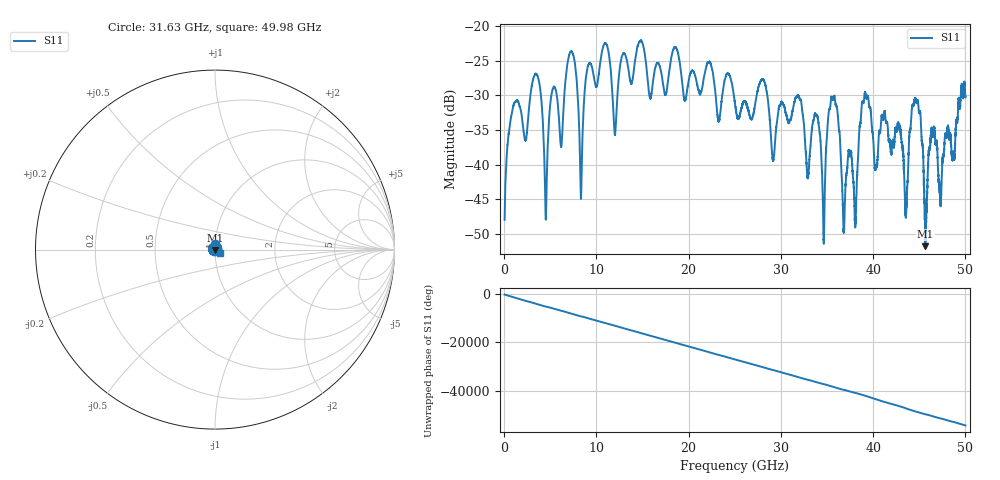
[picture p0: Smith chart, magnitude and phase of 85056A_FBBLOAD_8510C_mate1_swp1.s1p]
!Created with skrf (http://scikit-rf.org).
# Hz S RI R 50.0
!freq ReS11 ImS11
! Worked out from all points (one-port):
!   10001 points, 45 MHz to 50 GHz, reference 50 ohm
!   lowest |S11| = -51.8 dB at 45.66 GHz (marker M1), VSWR 1.01, Z = 49.9 - j0.234 ohm
!   |S11| at or under -10 dB: start of sweep to end of sweep
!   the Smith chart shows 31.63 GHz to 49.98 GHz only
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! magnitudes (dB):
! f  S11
! 45 MHz  -48.0
! 924.2 MHz  -31.9
! 3.337 GHz  -27.0
! 4.496 GHz  -47.6
! 5.275 GHz  -29.1
! 6.289 GHz  -35.6
! 7.204 GHz  -23.7
! 8.323 GHz  -44.9
! 9.162 GHz  -25.5
! 12.01 GHz  -35.7
! 12.53 GHz  -26.0
! 18.78 GHz  -23.6
! 25.02 GHz  -31.2
! 31.27 GHz  -32.2
! 32.92 GHz  -41.9
! 33.88 GHz  -32.9
! 34.61 GHz  -49.8
! 35.61 GHz  -30.6
! 36.78 GHz  -48.7
! 37.51 GHz  -38.4
! 38.09 GHz  -48.3
! 39.26 GHz  -30.5
! 43.76 GHz  -42.1
! 44.68 GHz  -30.9
! 45.66 GHz  -51.8
! 46.43 GHz  -35.8
! 47.28 GHz  -44.7
! 50 GHz  -30.2
